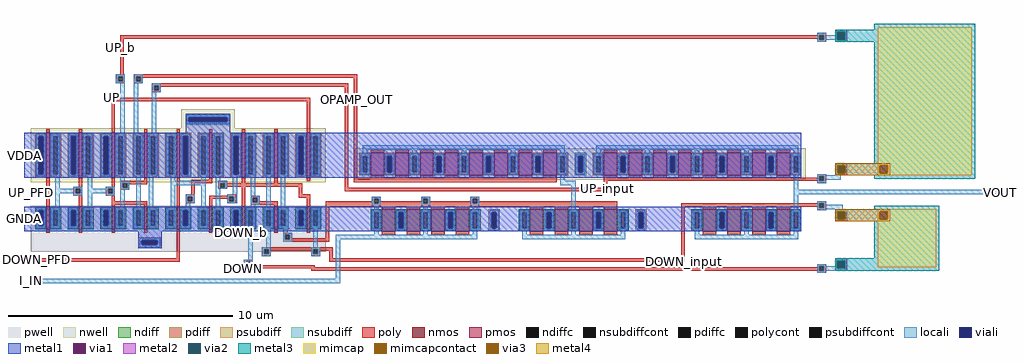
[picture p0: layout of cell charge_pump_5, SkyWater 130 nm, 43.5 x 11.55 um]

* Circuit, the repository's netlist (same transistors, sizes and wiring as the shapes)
* NGSPICE file created from charge_pump_5.ext - technology: sky130A

**.subckt charge_pump_5
X0 DOWN DOWN_b VDDA VDDA sky130_fd_pr__pfet_01v8 ad=1 pd=5 as=1 ps=5 w=2 l=0.15
X1 GNDA I_IN a_n3210_500# GNDA sky130_fd_pr__nfet_01v8 ad=0.25 pd=1.5 as=0.5 ps=3 w=1 l=0.6
X2 UP_input UP GNDA GNDA sky130_fd_pr__nfet_01v8 ad=0.5 pd=3 as=0.5 ps=3 w=1 l=0.15
X3 GNDA DOWN VOUT GNDA sky130_fd_pr__nfet_01v8 ad=0.25 pd=1.5 as=0.25 ps=1.5 w=1 l=0.6
X4 a_n3210_500# OPAMP_OUT VDDA VDDA sky130_fd_pr__pfet_01v8 ad=0.25 pd=1.5 as=0.25 ps=1.5 w=1 l=0.6
X5 UP a_n5970_20# GNDA GNDA sky130_fd_pr__nfet_01v8 ad=0.5 pd=3 as=0.5 ps=3 w=1 l=0.15
X6 a_n3210_500# I_IN GNDA GNDA sky130_fd_pr__nfet_01v8 ad=0.5 pd=3 as=0.25 ps=1.5 w=1 l=0.6
X7 UP_input UP VDDA VDDA sky130_fd_pr__pfet_01v8 ad=1 pd=5 as=1 ps=5 w=2 l=0.15
X8 VDDA OPAMP_OUT a_n3210_500# VDDA sky130_fd_pr__pfet_01v8 ad=0.25 pd=1.5 as=0.25 ps=1.5 w=1 l=0.6
X9 a_n5970_20# UP_PFD GNDA GNDA sky130_fd_pr__nfet_01v8 ad=0.5 pd=3 as=0.5 ps=3 w=1 l=0.15
X10 DOWN DOWN_b GNDA GNDA sky130_fd_pr__nfet_01v8 ad=0.5 pd=3 as=0.5 ps=3 w=1 l=0.15
X11 VOUT DOWN GNDA GNDA sky130_fd_pr__nfet_01v8 ad=0.25 pd=1.5 as=0.25 ps=1.5 w=1 l=0.6
X12 VDDA UP_input VOUT VDDA sky130_fd_pr__pfet_01v8 ad=0.25 pd=1.5 as=0.5 ps=3 w=1 l=0.6
X13 VDDA UP_input VOUT VDDA sky130_fd_pr__pfet_01v8 ad=0.25 pd=1.5 as=0.25 ps=1.5 w=1 l=0.6
X14 I_IN DOWN DOWN GNDA sky130_fd_pr__nfet_01v8 ad=0.5 pd=3 as=0.5 ps=3 w=1 l=0.15
X15 a_n3210_500# OPAMP_OUT VDDA VDDA sky130_fd_pr__pfet_01v8 ad=0.25 pd=1.5 as=0.25 ps=1.5 w=1 l=0.6
X16 VDDA UP_input VOUT VDDA sky130_fd_pr__pfet_01v8 ad=0.25 pd=1.5 as=0.25 ps=1.5 w=1 l=0.6
X17 DOWN_b GNDA a_n4940_20# VDDA sky130_fd_pr__pfet_01v8 ad=1 pd=5 as=1 ps=5 w=2 l=0.15
X18 I_IN I_IN GNDA GNDA sky130_fd_pr__nfet_01v8 ad=0.5 pd=3 as=0.25 ps=1.5 w=1 l=0.6
X19 VDDA OPAMP_OUT a_n3210_500# VDDA sky130_fd_pr__pfet_01v8 ad=0.25 pd=1.5 as=0.25 ps=1.5 w=1 l=0.6
X20 VOUT UP_input VDDA VDDA sky130_fd_pr__pfet_01v8 ad=0.25 pd=1.5 as=0.25 ps=1.5 w=1 l=0.6
X21 VOUT UP_input VDDA VDDA sky130_fd_pr__pfet_01v8 ad=0.5 pd=3 as=0.25 ps=1.5 w=1 l=0.6
X22 DOWN DOWN sky130_fd_pr__cap_mim_m3_1 l=2.6 w=2.6
X23 VOUT UP_input VDDA VDDA sky130_fd_pr__pfet_01v8 ad=0.25 pd=1.5 as=0.25 ps=1.5 w=1 l=0.6
X24 GNDA I_IN a_n3210_500# GNDA sky130_fd_pr__nfet_01v8 ad=0.25 pd=1.5 as=0.25 ps=1.5 w=1 l=0.6
X25 VDDA UP_input VOUT VDDA sky130_fd_pr__pfet_01v8 ad=0.25 pd=1.5 as=0.25 ps=1.5 w=1 l=0.6
X26 UP a_n5970_20# VDDA VDDA sky130_fd_pr__pfet_01v8 ad=1 pd=5 as=1 ps=5 w=2 l=0.15
X27 a_n3650_480# UP VDDA VDDA sky130_fd_pr__pfet_01v8 ad=1 pd=5 as=1 ps=5 w=2 l=0.15
X28 a_n3210_500# OPAMP_OUT VDDA VDDA sky130_fd_pr__pfet_01v8 ad=0.25 pd=1.5 as=0.25 ps=1.5 w=1 l=0.6
X29 DOWN DOWN_b GNDA GNDA sky130_fd_pr__nfet_01v8 ad=0.5 pd=3 as=0.5 ps=3 w=1 l=0.15
X30 UP_input UP_input sky130_fd_pr__cap_mim_m3_1 l=6.6 w=4.2
X31 DOWN_b VDDA a_n4940_20# GNDA sky130_fd_pr__nfet_01v8 ad=0.5 pd=3 as=0.5 ps=3 w=1 l=0.15
X32 VDDA OPAMP_OUT a_n3210_500# VDDA sky130_fd_pr__pfet_01v8 ad=0.25 pd=1.5 as=0.25 ps=1.5 w=1 l=0.6
X33 a_n5970_20# UP_PFD VDDA VDDA sky130_fd_pr__pfet_01v8 ad=1 pd=5 as=1 ps=5 w=2 l=0.15
X34 GNDA DOWN_PFD a_n4940_20# GNDA sky130_fd_pr__nfet_01v8 ad=0.5 pd=3 as=0.5 ps=3 w=1 l=0.15
X35 GNDA I_IN I_IN GNDA sky130_fd_pr__nfet_01v8 ad=0.25 pd=1.5 as=0.25 ps=1.5 w=1 l=0.6
X36 VDDA DOWN_PFD a_n4940_20# VDDA sky130_fd_pr__pfet_01v8 ad=1 pd=5 as=1 ps=5 w=2 l=0.15
X37 a_n3210_500# OPAMP_OUT VDDA VDDA sky130_fd_pr__pfet_01v8 ad=0.5 pd=3 as=0.25 ps=1.5 w=1 l=0.6
X38 VOUT UP_input VDDA VDDA sky130_fd_pr__pfet_01v8 ad=0.25 pd=1.5 as=0.25 ps=1.5 w=1 l=0.6
X39 GNDA I_IN I_IN GNDA sky130_fd_pr__nfet_01v8 ad=0.25 pd=1.5 as=0.5 ps=3 w=1 l=0.6
X40 a_n3210_500# I_IN GNDA GNDA sky130_fd_pr__nfet_01v8 ad=0.25 pd=1.5 as=0.25 ps=1.5 w=1 l=0.6
X41 GNDA DOWN VOUT GNDA sky130_fd_pr__nfet_01v8 ad=0.25 pd=1.5 as=0.5 ps=3 w=1 l=0.6
X42 UP_input UP_input OPAMP_OUT VDDA sky130_fd_pr__pfet_01v8 ad=1 pd=5 as=1 ps=5 w=2 l=0.15
X43 VOUT DOWN GNDA GNDA sky130_fd_pr__nfet_01v8 ad=0.5 pd=3 as=0.25 ps=1.5 w=1 l=0.6
X44 I_IN DOWN_b DOWN VDDA sky130_fd_pr__pfet_01v8 ad=1 pd=5 as=1 ps=5 w=2 l=0.15
X45 I_IN I_IN GNDA GNDA sky130_fd_pr__nfet_01v8 ad=0.25 pd=1.5 as=0.25 ps=1.5 w=1 l=0.6
X46 VDDA OPAMP_OUT a_n3210_500# VDDA sky130_fd_pr__pfet_01v8 ad=0.25 pd=1.5 as=0.5 ps=3 w=1 l=0.6
X47 UP_input UP OPAMP_OUT GNDA sky130_fd_pr__nfet_01v8 ad=0.5 pd=3 as=0.5 ps=3 w=1 l=0.15
.ends

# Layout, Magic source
magic
tech sky130A
<< nwell >>
rect -2400 460 -2160 545
rect -3070 220 -1755 460
rect -1625 230 385 370
<< pwell >>
rect -2565 120 -2550 125
rect -3070 -90 -1755 115
rect -2100 -165 -2080 -90
<< nmos >>
rect -3000 10 -2985 110
rect -2855 10 -2840 110
rect -2710 10 -2695 110
rect -2565 10 -2550 110
rect -2420 10 -2405 110
rect -2275 10 -2260 110
rect -2130 10 -2115 110
rect -1985 10 -1970 110
rect -1840 10 -1825 110
rect -1505 0 -1445 100
rect -1395 0 -1335 100
rect -1285 0 -1225 100
rect -1175 0 -1115 100
rect -845 0 -785 100
rect -735 0 -675 100
rect -625 0 -565 100
rect -515 0 -455 100
rect -75 0 -15 100
rect 35 0 95 100
rect 145 0 205 100
rect 255 0 315 100
<< pmos >>
rect -3000 240 -2985 440
rect -2855 240 -2840 440
rect -2710 240 -2695 440
rect -2565 240 -2550 440
rect -2420 240 -2405 440
rect -2275 240 -2260 440
rect -2130 240 -2115 440
rect -1985 240 -1970 440
rect -1840 240 -1825 440
rect -1555 250 -1495 350
rect -1445 250 -1385 350
rect -1335 250 -1275 350
rect -1225 250 -1165 350
rect -1115 250 -1055 350
rect -1005 250 -945 350
rect -895 250 -835 350
rect -785 250 -725 350
rect -515 250 -455 350
rect -405 250 -345 350
rect -295 250 -235 350
rect -185 250 -125 350
rect -75 250 -15 350
rect 35 250 95 350
rect 145 250 205 350
rect 255 250 315 350
<< ndiff >>
rect -3050 95 -3000 110
rect -3050 25 -3035 95
rect -3015 25 -3000 95
rect -3050 10 -3000 25
rect -2985 95 -2935 110
rect -2985 25 -2970 95
rect -2950 25 -2935 95
rect -2985 10 -2935 25
rect -2905 95 -2855 110
rect -2905 25 -2890 95
rect -2870 25 -2855 95
rect -2905 10 -2855 25
rect -2840 95 -2790 110
rect -2840 25 -2825 95
rect -2805 25 -2790 95
rect -2840 10 -2790 25
rect -2760 95 -2710 110
rect -2760 25 -2745 95
rect -2725 25 -2710 95
rect -2760 10 -2710 25
rect -2695 95 -2645 110
rect -2695 25 -2680 95
rect -2660 25 -2645 95
rect -2695 10 -2645 25
rect -2615 95 -2565 110
rect -2615 25 -2600 95
rect -2580 25 -2565 95
rect -2615 10 -2565 25
rect -2550 95 -2500 110
rect -2550 25 -2535 95
rect -2515 25 -2500 95
rect -2550 10 -2500 25
rect -2470 95 -2420 110
rect -2470 25 -2455 95
rect -2435 25 -2420 95
rect -2470 10 -2420 25
rect -2405 95 -2355 110
rect -2405 25 -2390 95
rect -2370 25 -2355 95
rect -2405 10 -2355 25
rect -2325 95 -2275 110
rect -2325 25 -2310 95
rect -2290 25 -2275 95
rect -2325 10 -2275 25
rect -2260 95 -2210 110
rect -2260 25 -2245 95
rect -2225 25 -2210 95
rect -2260 10 -2210 25
rect -2180 95 -2130 110
rect -2180 25 -2165 95
rect -2145 25 -2130 95
rect -2180 10 -2130 25
rect -2115 95 -2065 110
rect -2115 25 -2100 95
rect -2080 25 -2065 95
rect -2115 10 -2065 25
rect -2035 95 -1985 110
rect -2035 25 -2020 95
rect -2000 25 -1985 95
rect -2035 10 -1985 25
rect -1970 95 -1920 110
rect -1970 25 -1955 95
rect -1935 25 -1920 95
rect -1970 10 -1920 25
rect -1890 95 -1840 110
rect -1890 25 -1875 95
rect -1855 25 -1840 95
rect -1890 10 -1840 25
rect -1825 95 -1775 110
rect -1825 25 -1810 95
rect -1790 25 -1775 95
rect -1825 10 -1775 25
rect -1555 85 -1505 100
rect -1555 15 -1540 85
rect -1520 15 -1505 85
rect -1555 0 -1505 15
rect -1445 85 -1395 100
rect -1445 15 -1430 85
rect -1410 15 -1395 85
rect -1445 0 -1395 15
rect -1335 85 -1285 100
rect -1335 15 -1320 85
rect -1300 15 -1285 85
rect -1335 0 -1285 15
rect -1225 85 -1175 100
rect -1225 15 -1210 85
rect -1190 15 -1175 85
rect -1225 0 -1175 15
rect -1115 85 -1065 100
rect -1115 15 -1100 85
rect -1080 15 -1065 85
rect -1115 0 -1065 15
rect -895 85 -845 100
rect -895 15 -880 85
rect -860 15 -845 85
rect -895 0 -845 15
rect -785 85 -735 100
rect -785 15 -770 85
rect -750 15 -735 85
rect -785 0 -735 15
rect -675 85 -625 100
rect -675 15 -660 85
rect -640 15 -625 85
rect -675 0 -625 15
rect -565 85 -515 100
rect -565 15 -550 85
rect -530 15 -515 85
rect -565 0 -515 15
rect -455 85 -405 100
rect -455 15 -440 85
rect -420 15 -405 85
rect -455 0 -405 15
rect -125 85 -75 100
rect -125 15 -110 85
rect -90 15 -75 85
rect -125 0 -75 15
rect -15 85 35 100
rect -15 15 0 85
rect 20 15 35 85
rect -15 0 35 15
rect 95 85 145 100
rect 95 15 110 85
rect 130 15 145 85
rect 95 0 145 15
rect 205 85 255 100
rect 205 15 220 85
rect 240 15 255 85
rect 205 0 255 15
rect 315 85 365 100
rect 315 15 330 85
rect 350 15 365 85
rect 315 0 365 15
<< pdiff >>
rect -3050 425 -3000 440
rect -3050 255 -3035 425
rect -3015 255 -3000 425
rect -3050 240 -3000 255
rect -2985 425 -2935 440
rect -2985 255 -2970 425
rect -2950 255 -2935 425
rect -2985 240 -2935 255
rect -2905 425 -2855 440
rect -2905 255 -2890 425
rect -2870 255 -2855 425
rect -2905 240 -2855 255
rect -2840 425 -2790 440
rect -2840 255 -2825 425
rect -2805 255 -2790 425
rect -2840 240 -2790 255
rect -2760 425 -2710 440
rect -2760 255 -2745 425
rect -2725 255 -2710 425
rect -2760 240 -2710 255
rect -2695 425 -2645 440
rect -2695 255 -2680 425
rect -2660 255 -2645 425
rect -2695 240 -2645 255
rect -2615 425 -2565 440
rect -2615 255 -2600 425
rect -2580 255 -2565 425
rect -2615 240 -2565 255
rect -2550 425 -2500 440
rect -2550 255 -2535 425
rect -2515 255 -2500 425
rect -2550 240 -2500 255
rect -2470 425 -2420 440
rect -2470 255 -2455 425
rect -2435 255 -2420 425
rect -2470 240 -2420 255
rect -2405 425 -2355 440
rect -2405 255 -2390 425
rect -2370 255 -2355 425
rect -2405 240 -2355 255
rect -2325 425 -2275 440
rect -2325 255 -2310 425
rect -2290 255 -2275 425
rect -2325 240 -2275 255
rect -2260 425 -2210 440
rect -2260 255 -2245 425
rect -2225 255 -2210 425
rect -2260 240 -2210 255
rect -2180 425 -2130 440
rect -2180 255 -2165 425
rect -2145 255 -2130 425
rect -2180 240 -2130 255
rect -2115 425 -2065 440
rect -2115 255 -2100 425
rect -2080 255 -2065 425
rect -2115 240 -2065 255
rect -2035 425 -1985 440
rect -2035 255 -2020 425
rect -2000 255 -1985 425
rect -2035 240 -1985 255
rect -1970 425 -1920 440
rect -1970 255 -1955 425
rect -1935 255 -1920 425
rect -1970 240 -1920 255
rect -1890 425 -1840 440
rect -1890 255 -1875 425
rect -1855 255 -1840 425
rect -1890 240 -1840 255
rect -1825 425 -1775 440
rect -1825 255 -1810 425
rect -1790 255 -1775 425
rect -1825 240 -1775 255
rect -1605 335 -1555 350
rect -1605 265 -1590 335
rect -1570 265 -1555 335
rect -1605 250 -1555 265
rect -1495 335 -1445 350
rect -1495 265 -1480 335
rect -1460 265 -1445 335
rect -1495 250 -1445 265
rect -1385 335 -1335 350
rect -1385 265 -1370 335
rect -1350 265 -1335 335
rect -1385 250 -1335 265
rect -1275 335 -1225 350
rect -1275 265 -1260 335
rect -1240 265 -1225 335
rect -1275 250 -1225 265
rect -1165 335 -1115 350
rect -1165 265 -1150 335
rect -1130 265 -1115 335
rect -1165 250 -1115 265
rect -1055 335 -1005 350
rect -1055 265 -1040 335
rect -1020 265 -1005 335
rect -1055 250 -1005 265
rect -945 335 -895 350
rect -945 265 -930 335
rect -910 265 -895 335
rect -945 250 -895 265
rect -835 335 -785 350
rect -835 265 -820 335
rect -800 265 -785 335
rect -835 250 -785 265
rect -725 335 -675 350
rect -725 265 -710 335
rect -690 265 -675 335
rect -725 250 -675 265
rect -565 335 -515 350
rect -565 265 -550 335
rect -530 265 -515 335
rect -565 250 -515 265
rect -455 335 -405 350
rect -455 265 -440 335
rect -420 265 -405 335
rect -455 250 -405 265
rect -345 335 -295 350
rect -345 265 -330 335
rect -310 265 -295 335
rect -345 250 -295 265
rect -235 335 -185 350
rect -235 265 -220 335
rect -200 265 -185 335
rect -235 250 -185 265
rect -125 335 -75 350
rect -125 265 -110 335
rect -90 265 -75 335
rect -125 250 -75 265
rect -15 335 35 350
rect -15 265 0 335
rect 20 265 35 335
rect -15 250 35 265
rect 95 335 145 350
rect 95 265 110 335
rect 130 265 145 335
rect 95 250 145 265
rect 205 335 255 350
rect 205 265 220 335
rect 240 265 255 335
rect 205 250 255 265
rect 315 335 365 350
rect 315 265 330 335
rect 350 265 365 335
rect 315 250 365 265
<< ndiffc >>
rect -3035 25 -3015 95
rect -2970 25 -2950 95
rect -2890 25 -2870 95
rect -2825 25 -2805 95
rect -2745 25 -2725 95
rect -2680 25 -2660 95
rect -2600 25 -2580 95
rect -2535 25 -2515 95
rect -2455 25 -2435 95
rect -2390 25 -2370 95
rect -2310 25 -2290 95
rect -2245 25 -2225 95
rect -2165 25 -2145 95
rect -2100 25 -2080 95
rect -2020 25 -2000 95
rect -1955 25 -1935 95
rect -1875 25 -1855 95
rect -1810 25 -1790 95
rect -1540 15 -1520 85
rect -1430 15 -1410 85
rect -1320 15 -1300 85
rect -1210 15 -1190 85
rect -1100 15 -1080 85
rect -880 15 -860 85
rect -770 15 -750 85
rect -660 15 -640 85
rect -550 15 -530 85
rect -440 15 -420 85
rect -110 15 -90 85
rect 0 15 20 85
rect 110 15 130 85
rect 220 15 240 85
rect 330 15 350 85
<< pdiffc >>
rect -3035 255 -3015 425
rect -2970 255 -2950 425
rect -2890 255 -2870 425
rect -2825 255 -2805 425
rect -2745 255 -2725 425
rect -2680 255 -2660 425
rect -2600 255 -2580 425
rect -2535 255 -2515 425
rect -2455 255 -2435 425
rect -2390 255 -2370 425
rect -2310 255 -2290 425
rect -2245 255 -2225 425
rect -2165 255 -2145 425
rect -2100 255 -2080 425
rect -2020 255 -2000 425
rect -1955 255 -1935 425
rect -1875 255 -1855 425
rect -1810 255 -1790 425
rect -1590 265 -1570 335
rect -1480 265 -1460 335
rect -1370 265 -1350 335
rect -1260 265 -1240 335
rect -1150 265 -1130 335
rect -1040 265 -1020 335
rect -930 265 -910 335
rect -820 265 -800 335
rect -710 265 -690 335
rect -550 265 -530 335
rect -440 265 -420 335
rect -330 265 -310 335
rect -220 265 -200 335
rect -110 265 -90 335
rect 0 265 20 335
rect 110 265 130 335
rect 220 265 240 335
rect 330 265 350 335
<< psubdiff >>
rect -2590 -40 -2490 -25
rect -2590 -60 -2575 -40
rect -2505 -60 -2490 -40
rect -2590 -75 -2490 -60
rect -1030 85 -980 100
rect -1030 15 -1015 85
rect -995 15 -980 85
rect -1030 0 -980 15
rect -375 85 -325 100
rect -375 15 -360 85
rect -340 15 -325 85
rect -375 0 -325 15
<< nsubdiff >>
rect -2380 510 -2180 525
rect -2380 490 -2365 510
rect -2195 490 -2180 510
rect -2380 475 -2180 490
rect -645 335 -595 350
rect -645 265 -630 335
rect -610 265 -595 335
rect -645 250 -595 265
<< psubdiffcont >>
rect -2575 -60 -2505 -40
rect -1015 15 -995 85
rect -360 15 -340 85
<< nsubdiffcont >>
rect -2365 490 -2195 510
rect -630 265 -610 335
<< poly >>
rect 435 875 475 885
rect -2670 860 445 875
rect -2670 700 -2655 860
rect 435 855 445 860
rect 465 855 475 875
rect 435 845 475 855
rect -2690 690 -2650 700
rect -2690 670 -2680 690
rect -2660 670 -2650 690
rect -2690 660 -2650 670
rect -2610 690 -1615 700
rect -2610 670 -2600 690
rect -2580 685 -1615 690
rect -2580 670 -2570 685
rect -2610 660 -2570 670
rect -2530 650 -1655 660
rect -2530 630 -2520 650
rect -2500 645 -1655 650
rect -2500 630 -2490 645
rect -2530 620 -2490 630
rect -2710 580 -1825 595
rect -3000 440 -2985 455
rect -2855 440 -2840 455
rect -2710 440 -2695 580
rect -2565 440 -2550 455
rect -2420 440 -2405 455
rect -2275 440 -2260 455
rect -2130 440 -2115 455
rect -1985 440 -1970 455
rect -1840 440 -1825 580
rect -3000 185 -2985 240
rect -2855 200 -2840 240
rect -2710 200 -2695 240
rect -2565 225 -2550 240
rect -3065 170 -2985 185
rect -3000 110 -2985 170
rect -2880 190 -2840 200
rect -2880 170 -2870 190
rect -2850 170 -2840 190
rect -2880 160 -2840 170
rect -2735 190 -2695 200
rect -2735 170 -2725 190
rect -2705 170 -2695 190
rect -2670 215 -2550 225
rect -2670 195 -2660 215
rect -2640 210 -2550 215
rect -2640 195 -2630 210
rect -2670 185 -2630 195
rect -2735 160 -2695 170
rect -2855 110 -2840 160
rect -2710 135 -2695 160
rect -2710 120 -2550 135
rect -2710 110 -2695 120
rect -2565 110 -2550 120
rect -2420 110 -2405 240
rect -2275 230 -2260 240
rect -2355 215 -2260 230
rect -2235 215 -2195 225
rect -2130 215 -2115 240
rect -1985 215 -1970 240
rect -1840 225 -1825 240
rect -2355 165 -2340 215
rect -2235 195 -2225 215
rect -2205 200 -1860 215
rect -2205 195 -2195 200
rect -2235 190 -2195 195
rect -2380 155 -2340 165
rect -2195 160 -2155 165
rect -2380 135 -2370 155
rect -2350 135 -2340 155
rect -2380 125 -2340 135
rect -2275 155 -2155 160
rect -2275 145 -2185 155
rect -2275 110 -2260 145
rect -2195 135 -2185 145
rect -2165 135 -2155 155
rect -2195 125 -2155 135
rect -2130 110 -2115 200
rect -1875 165 -1860 200
rect -1670 195 -1655 645
rect -1630 235 -1615 685
rect -1555 350 -1495 365
rect -1445 350 -1385 365
rect -1335 350 -1275 365
rect -1225 350 -1165 365
rect -1115 350 -1055 365
rect -1005 350 -945 365
rect -895 350 -835 365
rect -785 350 -725 365
rect -515 350 -455 365
rect -405 350 -345 365
rect -295 350 -235 365
rect -185 350 -125 365
rect -75 350 -15 365
rect 35 350 95 365
rect 145 350 205 365
rect 255 350 315 365
rect -1555 240 -1495 250
rect -1445 240 -1385 250
rect -1335 240 -1275 250
rect -1225 240 -1165 250
rect -1115 240 -1055 250
rect -1005 240 -945 250
rect -895 240 -835 250
rect -785 240 -725 250
rect -1555 235 -725 240
rect -1630 220 -725 235
rect -515 240 -455 250
rect -405 240 -345 250
rect -295 240 -235 250
rect -185 240 -125 250
rect -75 240 -15 250
rect 35 240 95 250
rect 145 240 205 250
rect 255 240 315 250
rect 435 245 475 255
rect 435 240 445 245
rect -515 225 445 240
rect 465 225 475 245
rect -515 195 -500 225
rect 435 215 475 225
rect -1670 180 -500 195
rect -2090 150 -2050 160
rect -1875 150 -1825 165
rect -2090 130 -2080 150
rect -2060 135 -2050 150
rect -2060 130 -1970 135
rect -2090 120 -1970 130
rect -1985 110 -1970 120
rect -1840 110 -1825 150
rect -1550 145 -1510 155
rect -1550 135 -1540 145
rect -1755 125 -1540 135
rect -1520 135 -1510 145
rect -1330 145 -1290 155
rect -1330 135 -1320 145
rect -1520 125 -1320 135
rect -1300 135 -1290 145
rect -1110 145 -1070 155
rect -1110 135 -1100 145
rect -1300 125 -1100 135
rect -1080 135 -1070 145
rect -1080 125 -455 135
rect 435 125 475 135
rect -1755 110 -455 125
rect -3000 -5 -2985 10
rect -2855 -5 -2840 10
rect -2710 -5 -2695 10
rect -2565 -5 -2550 10
rect -2420 -120 -2405 10
rect -2275 -5 -2260 10
rect -2130 -5 -2115 10
rect -1985 -5 -1970 10
rect -1840 -5 -1825 10
rect -1945 -15 -1905 -5
rect -1945 -35 -1935 -15
rect -1915 -30 -1905 -15
rect -1755 -30 -1740 110
rect -1505 100 -1445 110
rect -1395 100 -1335 110
rect -1285 100 -1225 110
rect -1175 100 -1115 110
rect -845 100 -785 110
rect -735 100 -675 110
rect -625 100 -565 110
rect -515 100 -455 110
rect -170 110 445 125
rect -1505 -15 -1445 0
rect -1395 -15 -1335 0
rect -1285 -15 -1225 0
rect -1175 -15 -1115 0
rect -845 -15 -785 0
rect -735 -15 -675 0
rect -625 -15 -565 0
rect -515 -15 -455 0
rect -1915 -35 -1740 -30
rect -1945 -45 -1740 -35
rect -2040 -80 -1725 -70
rect -2040 -100 -2030 -80
rect -2010 -85 -1810 -80
rect -2010 -100 -2000 -85
rect -2040 -110 -2000 -100
rect -1820 -100 -1810 -85
rect -1790 -85 -1725 -80
rect -1790 -100 -1780 -85
rect -1820 -110 -1780 -100
rect -3065 -135 -2405 -120
rect -1740 -120 -1725 -85
rect -170 -120 -155 110
rect -75 100 -15 110
rect 35 100 95 110
rect 145 100 205 110
rect 255 100 315 110
rect 435 105 445 110
rect 465 105 475 125
rect 435 95 475 105
rect -75 -15 -15 0
rect 35 -15 95 0
rect 145 -15 205 0
rect 255 -15 315 0
rect -2120 -135 -2080 -125
rect -1740 -135 -155 -120
rect -2120 -155 -2110 -135
rect -2090 -150 -2080 -135
rect -2090 -155 -1805 -150
rect -2120 -160 -1805 -155
rect 435 -155 475 -145
rect 435 -160 445 -155
rect -2120 -165 445 -160
rect -1820 -175 445 -165
rect 465 -175 475 -155
rect 435 -185 475 -175
<< polycont >>
rect 445 855 465 875
rect -2680 670 -2660 690
rect -2600 670 -2580 690
rect -2520 630 -2500 650
rect -2870 170 -2850 190
rect -2725 170 -2705 190
rect -2660 195 -2640 215
rect -2225 195 -2205 215
rect -2370 135 -2350 155
rect -2185 135 -2165 155
rect 445 225 465 245
rect -2080 130 -2060 150
rect -1540 125 -1520 145
rect -1320 125 -1300 145
rect -1100 125 -1080 145
rect -1935 -35 -1915 -15
rect -2030 -100 -2010 -80
rect -1810 -100 -1790 -80
rect 445 105 465 125
rect -2110 -155 -2090 -135
rect 445 -175 465 -155
<< locali >>
rect 515 890 570 900
rect 435 875 475 885
rect 515 875 525 890
rect 435 855 445 875
rect 465 855 525 875
rect 560 855 570 890
rect 435 845 475 855
rect 515 845 570 855
rect -2690 690 -2650 700
rect -2690 670 -2680 690
rect -2660 670 -2650 690
rect -2690 660 -2650 670
rect -2670 435 -2650 660
rect -3045 425 -3005 435
rect -3045 255 -3035 425
rect -3015 255 -3005 425
rect -3045 245 -3005 255
rect -2980 425 -2940 435
rect -2980 255 -2970 425
rect -2950 255 -2940 425
rect -2980 245 -2940 255
rect -2900 425 -2860 435
rect -2900 255 -2890 425
rect -2870 255 -2860 425
rect -2900 245 -2860 255
rect -2835 425 -2795 435
rect -2835 255 -2825 425
rect -2805 255 -2795 425
rect -2835 245 -2795 255
rect -2755 425 -2715 435
rect -2755 255 -2745 425
rect -2725 255 -2715 425
rect -2755 245 -2715 255
rect -2690 425 -2650 435
rect -2690 255 -2680 425
rect -2660 255 -2650 425
rect -2690 245 -2650 255
rect -2610 690 -2570 700
rect -2610 670 -2600 690
rect -2580 670 -2570 690
rect -2610 660 -2570 670
rect -2610 435 -2590 660
rect -2530 650 -2490 660
rect -2530 630 -2520 650
rect -2500 630 -2490 650
rect -2530 620 -2490 630
rect -2530 435 -2510 620
rect -2375 510 -2185 520
rect -2375 490 -2365 510
rect -2195 490 -2185 510
rect -2375 480 -2185 490
rect -2610 425 -2570 435
rect -2610 255 -2600 425
rect -2580 255 -2570 425
rect -2610 245 -2570 255
rect -2545 425 -2505 435
rect -2545 255 -2535 425
rect -2515 255 -2505 425
rect -2545 245 -2505 255
rect -2465 425 -2425 435
rect -2465 255 -2455 425
rect -2435 255 -2425 425
rect -2465 245 -2425 255
rect -2400 425 -2360 435
rect -2400 255 -2390 425
rect -2370 275 -2360 425
rect -2320 425 -2280 435
rect -2370 255 -2355 275
rect -2400 245 -2355 255
rect -2320 255 -2310 425
rect -2290 255 -2280 425
rect -2320 245 -2280 255
rect -2255 425 -2215 435
rect -2255 255 -2245 425
rect -2225 255 -2215 425
rect -2255 245 -2215 255
rect -2175 425 -2135 435
rect -2175 255 -2165 425
rect -2145 255 -2135 425
rect -2175 245 -2135 255
rect -2110 425 -2070 435
rect -2110 255 -2100 425
rect -2080 255 -2070 425
rect -2110 245 -2070 255
rect -2030 425 -1990 435
rect -2030 255 -2020 425
rect -2000 255 -1990 425
rect -2030 245 -1990 255
rect -1965 425 -1925 435
rect -1965 255 -1955 425
rect -1935 255 -1925 425
rect -1965 245 -1925 255
rect -1885 425 -1845 435
rect -1885 255 -1875 425
rect -1855 255 -1845 425
rect -1885 245 -1845 255
rect -1820 425 -1780 435
rect -1820 255 -1810 425
rect -1790 255 -1780 425
rect -1590 365 -690 385
rect -1590 345 -1570 365
rect -1370 345 -1350 365
rect -1150 345 -1130 365
rect -930 345 -910 365
rect -710 345 -690 365
rect -550 365 350 385
rect -550 345 -530 365
rect -330 345 -310 365
rect -110 345 -90 365
rect 110 345 130 365
rect 330 345 350 365
rect -1600 335 -1560 345
rect -1600 265 -1590 335
rect -1570 265 -1560 335
rect -1600 255 -1560 265
rect -1490 335 -1450 345
rect -1490 265 -1480 335
rect -1460 265 -1450 335
rect -1490 255 -1450 265
rect -1380 335 -1340 345
rect -1380 265 -1370 335
rect -1350 265 -1340 335
rect -1380 255 -1340 265
rect -1270 335 -1230 345
rect -1270 265 -1260 335
rect -1240 265 -1230 335
rect -1270 255 -1230 265
rect -1160 335 -1120 345
rect -1160 265 -1150 335
rect -1130 265 -1120 335
rect -1160 255 -1120 265
rect -1050 335 -1010 345
rect -1050 265 -1040 335
rect -1020 265 -1010 335
rect -1050 255 -1010 265
rect -940 335 -900 345
rect -940 265 -930 335
rect -910 265 -900 335
rect -940 255 -900 265
rect -830 335 -790 345
rect -830 265 -820 335
rect -800 265 -790 335
rect -830 255 -790 265
rect -720 335 -680 345
rect -720 265 -710 335
rect -690 265 -680 335
rect -720 255 -680 265
rect -640 335 -600 345
rect -640 265 -630 335
rect -610 265 -600 335
rect -640 255 -600 265
rect -560 335 -520 345
rect -560 265 -550 335
rect -530 265 -520 335
rect -560 255 -520 265
rect -450 335 -410 345
rect -450 265 -440 335
rect -420 265 -410 335
rect -450 255 -410 265
rect -340 335 -300 345
rect -340 265 -330 335
rect -310 265 -300 335
rect -340 255 -300 265
rect -230 335 -190 345
rect -230 265 -220 335
rect -200 265 -190 335
rect -230 255 -190 265
rect -120 335 -80 345
rect -120 265 -110 335
rect -90 265 -80 335
rect -120 255 -80 265
rect -10 335 30 345
rect -10 265 0 335
rect 20 265 30 335
rect -10 255 30 265
rect 100 335 140 345
rect 100 265 110 335
rect 130 265 140 335
rect 100 255 140 265
rect 210 335 250 345
rect 210 265 220 335
rect 240 265 250 335
rect 210 255 250 265
rect 320 335 360 345
rect 320 265 330 335
rect 350 265 360 335
rect 320 255 360 265
rect 515 295 570 305
rect 515 260 525 295
rect 560 260 570 295
rect -1820 245 -1780 255
rect -2960 190 -2940 245
rect -2880 190 -2840 200
rect -2960 170 -2870 190
rect -2850 170 -2840 190
rect -2960 105 -2940 170
rect -2880 160 -2840 170
rect -2815 190 -2795 245
rect -2670 225 -2650 245
rect -2670 215 -2630 225
rect -2735 190 -2695 200
rect -2815 170 -2725 190
rect -2705 170 -2695 190
rect -2815 105 -2795 170
rect -2735 160 -2695 170
rect -2670 195 -2660 215
rect -2640 195 -2630 215
rect -2670 185 -2630 195
rect -2670 105 -2650 185
rect -2600 105 -2580 245
rect -2545 105 -2525 245
rect -2445 225 -2425 245
rect -2310 225 -2290 245
rect -2445 205 -2290 225
rect -2445 105 -2425 205
rect -2380 155 -2340 165
rect -2380 135 -2370 155
rect -2350 135 -2340 155
rect -2380 125 -2340 135
rect -2380 105 -2360 125
rect -2310 105 -2290 205
rect -2245 225 -2225 245
rect -2245 215 -2195 225
rect -2245 195 -2225 215
rect -2205 195 -2195 215
rect -2245 190 -2195 195
rect -2245 105 -2225 190
rect -2170 165 -2150 245
rect -2195 155 -2150 165
rect -2195 135 -2185 155
rect -2165 135 -2150 155
rect -2195 125 -2150 135
rect -2090 160 -2070 245
rect -2090 150 -2050 160
rect -2090 130 -2080 150
rect -2060 130 -2050 150
rect -2090 120 -2050 130
rect -2090 105 -2070 120
rect -2020 105 -2000 245
rect -1955 105 -1935 245
rect -710 225 -690 255
rect -710 205 -640 225
rect -1550 145 -1510 155
rect -1550 125 -1540 145
rect -1520 125 -1510 145
rect -1550 115 -1510 125
rect -1330 145 -1290 155
rect -1330 125 -1320 145
rect -1300 125 -1290 145
rect -1330 115 -1290 125
rect -1110 145 -1070 155
rect -1110 125 -1100 145
rect -1080 125 -1070 145
rect -1110 115 -1070 125
rect -3045 95 -3005 105
rect -3045 25 -3035 95
rect -3015 25 -3005 95
rect -3045 15 -3005 25
rect -2980 95 -2940 105
rect -2980 25 -2970 95
rect -2950 25 -2940 95
rect -2980 15 -2940 25
rect -2900 95 -2860 105
rect -2900 25 -2890 95
rect -2870 25 -2860 95
rect -2900 15 -2860 25
rect -2835 95 -2795 105
rect -2835 25 -2825 95
rect -2805 25 -2795 95
rect -2835 15 -2795 25
rect -2755 95 -2715 105
rect -2755 25 -2745 95
rect -2725 25 -2715 95
rect -2755 15 -2715 25
rect -2690 95 -2650 105
rect -2690 25 -2680 95
rect -2660 25 -2650 95
rect -2690 15 -2650 25
rect -2610 95 -2570 105
rect -2610 25 -2600 95
rect -2580 25 -2570 95
rect -2610 15 -2570 25
rect -2545 95 -2505 105
rect -2545 25 -2535 95
rect -2515 25 -2505 95
rect -2545 15 -2505 25
rect -2465 95 -2425 105
rect -2465 25 -2455 95
rect -2435 25 -2425 95
rect -2465 15 -2425 25
rect -2400 95 -2360 105
rect -2400 25 -2390 95
rect -2370 25 -2360 95
rect -2400 15 -2360 25
rect -2320 95 -2280 105
rect -2320 25 -2310 95
rect -2290 25 -2280 95
rect -2320 15 -2280 25
rect -2255 95 -2215 105
rect -2255 25 -2245 95
rect -2225 25 -2215 95
rect -2255 15 -2215 25
rect -2175 95 -2135 105
rect -2175 25 -2165 95
rect -2145 25 -2135 95
rect -2175 15 -2135 25
rect -2110 95 -2070 105
rect -2110 25 -2100 95
rect -2080 25 -2070 95
rect -2110 15 -2070 25
rect -2030 95 -1990 105
rect -2030 25 -2020 95
rect -2000 25 -1990 95
rect -2030 15 -1990 25
rect -1965 95 -1920 105
rect -1965 25 -1955 95
rect -1935 25 -1920 95
rect -1965 15 -1920 25
rect -1885 95 -1845 105
rect -1885 25 -1875 95
rect -1855 25 -1845 95
rect -1885 15 -1845 25
rect -1820 95 -1780 105
rect -1540 95 -1520 115
rect -1320 95 -1300 115
rect -1100 95 -1080 115
rect -660 95 -640 205
rect 330 185 350 255
rect 435 250 475 255
rect 515 250 570 260
rect 435 245 540 250
rect 435 225 445 245
rect 465 230 540 245
rect 465 225 475 230
rect 435 215 475 225
rect 330 165 1250 185
rect 330 95 350 165
rect 435 125 475 135
rect 435 105 445 125
rect 465 120 475 125
rect 465 105 550 120
rect 435 100 550 105
rect 435 95 475 100
rect -1820 25 -1810 95
rect -1790 25 -1780 95
rect -1820 15 -1780 25
rect -1550 85 -1510 95
rect -1550 15 -1540 85
rect -1520 15 -1510 85
rect -2585 -40 -2495 -30
rect -2585 -60 -2575 -40
rect -2505 -60 -2495 -40
rect -2585 -70 -2495 -60
rect -2100 -125 -2080 15
rect -2020 -70 -2000 15
rect -1945 -5 -1925 15
rect -1945 -15 -1905 -5
rect -1945 -35 -1935 -15
rect -1915 -35 -1905 -15
rect -1945 -45 -1905 -35
rect -1810 -70 -1790 15
rect -1550 5 -1510 15
rect -1440 85 -1400 95
rect -1440 15 -1430 85
rect -1410 15 -1400 85
rect -1440 5 -1400 15
rect -1330 85 -1290 95
rect -1330 15 -1320 85
rect -1300 15 -1290 85
rect -1330 5 -1290 15
rect -1220 85 -1180 95
rect -1220 15 -1210 85
rect -1190 15 -1180 85
rect -1220 5 -1180 15
rect -1110 85 -1070 95
rect -1110 15 -1100 85
rect -1080 15 -1070 85
rect -1110 5 -1070 15
rect -1025 85 -985 95
rect -1025 15 -1015 85
rect -995 15 -985 85
rect -1025 5 -985 15
rect -890 85 -850 95
rect -890 15 -880 85
rect -860 15 -850 85
rect -890 5 -850 15
rect -780 85 -740 95
rect -780 15 -770 85
rect -750 15 -740 85
rect -780 5 -740 15
rect -670 85 -630 95
rect -670 15 -660 85
rect -640 15 -630 85
rect -670 5 -630 15
rect -560 85 -520 95
rect -560 15 -550 85
rect -530 15 -520 85
rect -560 5 -520 15
rect -450 85 -410 95
rect -450 15 -440 85
rect -420 15 -410 85
rect -450 5 -410 15
rect -370 85 -330 95
rect -370 15 -360 85
rect -340 15 -330 85
rect -370 5 -330 15
rect -120 85 -80 95
rect -120 15 -110 85
rect -90 15 -80 85
rect -120 5 -80 15
rect -10 85 30 95
rect -10 15 0 85
rect 20 15 30 85
rect -10 5 30 15
rect 100 85 140 95
rect 100 15 110 85
rect 130 15 140 85
rect 100 5 140 15
rect 210 85 250 95
rect 210 15 220 85
rect 240 15 250 85
rect 210 5 250 15
rect 320 85 360 95
rect 320 15 330 85
rect 350 15 360 85
rect 515 90 570 100
rect 515 55 525 90
rect 560 55 570 90
rect 515 45 570 55
rect 320 5 360 15
rect -1540 -15 -1520 5
rect -1320 -15 -1300 5
rect -1100 -15 -1080 5
rect -1710 -35 -1080 -15
rect -880 -15 -860 5
rect -660 -15 -640 5
rect -440 -15 -420 5
rect -880 -35 -420 -15
rect -110 -15 -90 5
rect 110 -15 130 5
rect 330 -15 350 5
rect -110 -35 350 -15
rect -2040 -80 -2000 -70
rect -2040 -100 -2030 -80
rect -2010 -100 -2000 -80
rect -2040 -110 -2000 -100
rect -1820 -80 -1780 -70
rect -1820 -100 -1810 -80
rect -1790 -100 -1780 -80
rect -1820 -110 -1780 -100
rect -2120 -135 -2080 -125
rect -2120 -155 -2110 -135
rect -2090 -155 -2080 -135
rect -2120 -165 -2080 -155
rect -1710 -210 -1690 -35
rect 515 -130 570 -120
rect 435 -155 475 -145
rect 515 -155 525 -130
rect 435 -175 445 -155
rect 465 -165 525 -155
rect 560 -165 570 -130
rect 465 -175 570 -165
rect 435 -185 475 -175
rect -3065 -230 -1690 -210
<< viali >>
rect 525 855 560 890
rect -3035 255 -3015 425
rect -2890 255 -2870 425
rect -2745 255 -2725 425
rect -2365 490 -2195 510
rect -2390 255 -2370 425
rect -2165 255 -2145 425
rect -1875 255 -1855 425
rect -1480 265 -1460 335
rect -1260 265 -1240 335
rect -1040 265 -1020 335
rect -820 265 -800 335
rect -630 265 -610 335
rect -440 265 -420 335
rect -220 265 -200 335
rect 0 265 20 335
rect 220 265 240 335
rect 525 260 560 295
rect -3035 25 -3015 95
rect -2890 25 -2870 95
rect -2745 25 -2725 95
rect -2390 25 -2370 95
rect -2165 25 -2145 95
rect -1875 25 -1855 95
rect -2575 -60 -2505 -40
rect -1430 15 -1410 85
rect -1210 15 -1190 85
rect -1015 15 -995 85
rect -770 15 -750 85
rect -550 15 -530 85
rect -360 15 -340 85
rect 0 15 20 85
rect 220 15 240 85
rect 525 55 560 90
rect 525 -165 560 -130
<< metal1 >>
rect 515 890 570 900
rect 515 855 525 890
rect 560 855 570 890
rect 515 845 570 855
rect -2380 510 -2180 525
rect -2380 490 -2365 510
rect -2195 490 -2180 510
rect -2380 440 -2180 490
rect -3100 425 365 440
rect -3100 255 -3035 425
rect -3015 255 -2890 425
rect -2870 255 -2745 425
rect -2725 255 -2390 425
rect -2370 255 -2165 425
rect -2145 255 -1875 425
rect -1855 335 365 425
rect -1855 265 -1480 335
rect -1460 265 -1260 335
rect -1240 265 -1040 335
rect -1020 265 -820 335
rect -800 265 -630 335
rect -610 265 -440 335
rect -420 265 -220 335
rect -200 265 0 335
rect 20 265 220 335
rect 240 265 365 335
rect -1855 255 365 265
rect -3100 240 365 255
rect 515 295 570 305
rect 515 260 525 295
rect 560 260 570 295
rect 515 250 570 260
rect -3100 95 365 110
rect -3100 25 -3035 95
rect -3015 25 -2890 95
rect -2870 25 -2745 95
rect -2725 25 -2390 95
rect -2370 25 -2165 95
rect -2145 25 -1875 95
rect -1855 85 365 95
rect -1855 25 -1430 85
rect -3100 15 -1430 25
rect -1410 15 -1210 85
rect -1190 15 -1015 85
rect -995 15 -770 85
rect -750 15 -550 85
rect -530 15 -360 85
rect -340 15 0 85
rect 20 15 220 85
rect 240 15 365 85
rect 515 90 570 100
rect 515 55 525 90
rect 560 55 570 90
rect 515 45 570 55
rect -3100 0 365 15
rect -2590 -40 -2485 0
rect -2590 -60 -2575 -40
rect -2505 -60 -2485 -40
rect -2590 -75 -2485 -60
rect 515 -130 570 -120
rect 515 -165 525 -130
rect 560 -165 570 -130
rect 515 -175 570 -165
<< via1 >>
rect 525 855 560 890
rect 525 260 560 295
rect 525 55 560 90
rect 525 -165 560 -130
<< metal2 >>
rect 515 890 570 900
rect 515 855 525 890
rect 560 855 570 890
rect 515 845 570 855
rect 515 295 570 305
rect 515 260 525 295
rect 560 260 570 295
rect 515 250 570 260
rect 515 90 570 100
rect 515 55 525 90
rect 560 55 570 90
rect 515 45 570 55
rect 515 -130 570 -120
rect 515 -165 525 -130
rect 560 -165 570 -130
rect 515 -175 570 -165
<< via2 >>
rect 525 855 560 890
rect 525 260 560 295
rect 525 55 560 90
rect 525 -165 560 -130
<< metal3 >>
rect 690 900 1140 925
rect 515 890 1140 900
rect 515 855 525 890
rect 560 855 1140 890
rect 515 845 1140 855
rect 690 305 1140 845
rect 515 295 1140 305
rect 515 260 525 295
rect 560 260 1140 295
rect 515 250 1140 260
rect 690 235 1140 250
rect 690 100 980 115
rect 515 90 980 100
rect 515 55 525 90
rect 560 55 980 90
rect 515 45 980 55
rect 690 -120 980 45
rect 515 -130 980 -120
rect 515 -165 525 -130
rect 560 -165 980 -130
rect 515 -175 980 -165
<< via3 >>
rect 525 260 560 295
rect 525 55 560 90
<< mimcap >>
rect 705 295 1125 910
rect 705 260 715 295
rect 750 260 1125 295
rect 705 250 1125 260
rect 705 90 965 100
rect 705 55 715 90
rect 750 55 965 90
rect 705 -160 965 55
<< mimcapcontact >>
rect 715 260 750 295
rect 715 55 750 90
<< metal4 >>
rect 515 295 760 305
rect 515 260 525 295
rect 560 260 715 295
rect 750 260 760 295
rect 515 250 760 260
rect 515 90 760 100
rect 515 55 525 90
rect 560 55 715 90
rect 750 55 760 90
rect 515 45 760 55
<< labels >>
flabel locali -3065 -220 -3065 -220 7 FreeSans 400 0 -200 0 I_IN
flabel poly -3065 -125 -3065 -125 7 FreeSans 400 0 -200 0 DOWN_PFD
flabel poly -3065 175 -3065 175 7 FreeSans 400 0 -200 0 UP_PFD
flabel metal1 -3100 340 -3100 340 7 FreeSans 400 0 -200 0 VDDA
flabel metal1 -3100 60 -3100 60 7 FreeSans 400 0 -200 0 GNDA
flabel locali 1250 175 1250 175 3 FreeSans 400 0 80 0 VOUT
flabel poly -1620 590 -1615 590 3 FreeSans 400 0 200 0 OPAMP_OUT
flabel poly -2130 -5 -2130 -5 7 FreeSans 400 0 -200 -200 DOWN_b
flabel poly -500 190 -500 190 3 FreeSans 400 0 200 0 UP_input
flabel poly -2670 820 -2670 820 7 FreeSans 400 0 -200 0 UP_b
flabel poly -2120 -165 -2120 -165 7 FreeSans 400 0 -200 -200 DOWN
flabel poly -155 -135 -155 -135 3 FreeSans 400 0 200 0 DOWN_input
flabel poly -2710 595 -2710 595 7 FreeSans 400 0 -200 0 UP
<< end >>
